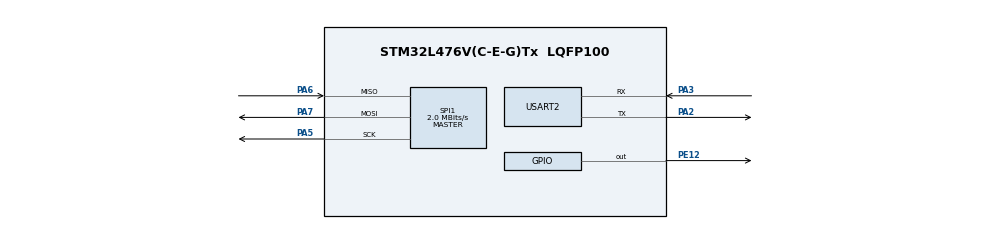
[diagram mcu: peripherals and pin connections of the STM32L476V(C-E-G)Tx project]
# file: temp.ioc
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Mcu.Family=STM32L4
Mcu.Name=STM32L476V(C-E-G)Tx
Mcu.Package=LQFP100
NVIC.PriorityGroup=NVIC_PRIORITYGROUP_4
NVIC.SPI1_IRQn=true\:0\:0\:false\:false\:true\:true\:true\:true
NVIC.USART2_IRQn=true\:0\:0\:false\:false\:true\:true\:true\:true
PA2.Mode=Asynchronous
PA2.Signal=USART2_TX
PA3.Mode=Asynchronous
PA3.Signal=USART2_RX
PA5.Mode=Full_Duplex_Master
PA5.Signal=SPI1_SCK
PA6.Mode=Full_Duplex_Master
PA6.Signal=SPI1_MISO
PA7.Mode=Full_Duplex_Master
PA7.Signal=SPI1_MOSI
PE12.Signal=GPIO_Output
ProjectManager.HeapSize=0x200
ProjectManager.StackSize=0x400
ProjectManager.TargetToolchain=EWARM V7
RCC.HSE_VALUE=8000000
RCC.HSI_VALUE=16000000
RCC.LSE_VALUE=32768
RCC.MSI_VALUE=4000000
RCC.VCOOutputFreq_Value=32000000
SPI1.CalculateBaudRate=2.0 MBits/s
SPI1.DataSize=SPI_DATASIZE_12BIT
SPI1.Direction=SPI_DIRECTION_2LINES
SPI1.Mode=SPI_MODE_MASTER
SPI1.VirtualType=VM_MASTER
USART2.VirtualMode-Asynchronous=VM_ASYNC
board=custom

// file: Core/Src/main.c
/* USER CODE BEGIN Header */
/**
  ******************************************************************************
  * @file           : main.c
  * @brief          : Main program body
  ******************************************************************************
  * @attention
  *
  * Copyright (c) 2025 STMicroelectronics.
  * All rights reserved.
  *
  * This software is licensed under terms that can be found in the LICENSE file
  * in the root directory of this software component.
  * If no LICENSE file comes with this software, it is provided AS-IS.
  *
  ******************************************************************************
  */
/* USER CODE END Header */
#include "main.h"

void SystemClock_Config(void);
static void MX_GPIO_Init(void);
static void MX_SPI1_Init(void);
static void MX_USART2_UART_Init(void);

/* USER CODE BEGIN 0 */

void SPI_TransmitReceive(SPI_TypeDef *SPIx, uint8_t *txData, uint8_t *rxData, uint16_t size) {
    for (uint16_t i = 0; i < size; i++) {
        // Отправляем данные
        LL_SPI_TransmitData8(SPI1, txData[i]);

        // Ждем, пока передача завершится
       // while (!LL_SPI_IsActiveFlag_TXE(SPIx)); // Ждем, пока регистр передачи не станет пустым
HAL_Delay(100);
        // Ждем, пока данные будут приняты
        //while (!LL_SPI_IsActiveFlag_RXNE(SPIx)); // Ждем, пока данные не будут готовы к чтению

        // Читаем принятые данные
        rxData[i] = LL_SPI_ReceiveData8(SPI1);
    }
}

void MAX31723_Init(void) {

 // HAL_GPIO_WritePin(GPIOE, GPIO_PIN_12, GPIO_PIN_RESET);
  //HAL_Delay(1);
  HAL_GPIO_WritePin(GPIOE, GPIO_PIN_12, GPIO_PIN_SET);
   HAL_Delay(100);
    LL_SPI_TransmitData8(SPI1, 0x80);
}
/* USER CODE END 0 */

int main(void)
{

  /* MCU Configuration--------------------------------------------------------*/

  /* Reset of all peripherals, Initializes the Flash interface and the Systick. */
  HAL_Init();

  /* Configure the system clock */
  SystemClock_Config();

  /* Initialize all configured peripherals */
  MX_GPIO_Init();
  MX_SPI1_Init();
  MX_USART2_UART_Init();
  /* USER CODE BEGIN 2 */
 MAX31723_Init();
  uint8_t txBuffer[2] = {0x01, 0x02};
  uint8_t rxBuffer[2];
  SPI_TransmitReceive(SPI1, txBuffer, rxBuffer, sizeof(txBuffer));
  HAL_Delay(100);
  HAL_GPIO_WritePin(GPIOE, GPIO_PIN_12, GPIO_PIN_RESET);
  /* USER CODE END 2 */

  /* Infinite loop */
  while (1)
  {

  }
}

void SystemClock_Config(void)
{
  RCC_OscInitTypeDef RCC_OscInitStruct = {0};
  RCC_ClkInitTypeDef RCC_ClkInitStruct = {0};

  /** Configure the main internal regulator output voltage
  */
  if (HAL_PWREx_ControlVoltageScaling(PWR_REGULATOR_VOLTAGE_SCALE1) != HAL_OK)
  {
    Error_Handler();
  }

  /** Initializes the RCC Oscillators according to the specified parameters
  * in the RCC_OscInitTypeDef structure.
  */
  RCC_OscInitStruct.OscillatorType = RCC_OSCILLATORTYPE_MSI;
  RCC_OscInitStruct.MSIState = RCC_MSI_ON;
  RCC_OscInitStruct.MSICalibrationValue = 0;
  RCC_OscInitStruct.MSIClockRange = RCC_MSIRANGE_6;
  RCC_OscInitStruct.PLL.PLLState = RCC_PLL_NONE;
  if (HAL_RCC_OscConfig(&RCC_OscInitStruct) != HAL_OK)
  {
    Error_Handler();
  }

  /** Initializes the CPU, AHB and APB buses clocks
  */
  RCC_ClkInitStruct.ClockType = RCC_CLOCKTYPE_HCLK|RCC_CLOCKTYPE_SYSCLK
                              |RCC_CLOCKTYPE_PCLK1|RCC_CLOCKTYPE_PCLK2;
  RCC_ClkInitStruct.SYSCLKSource = RCC_SYSCLKSOURCE_MSI;
  RCC_ClkInitStruct.AHBCLKDivider = RCC_SYSCLK_DIV1;
  RCC_ClkInitStruct.APB1CLKDivider = RCC_HCLK_DIV1;
  RCC_ClkInitStruct.APB2CLKDivider = RCC_HCLK_DIV1;

  if (HAL_RCC_ClockConfig(&RCC_ClkInitStruct, FLASH_LATENCY_0) != HAL_OK)
  {
    Error_Handler();
  }
}

static void MX_SPI1_Init(void)
{

  LL_SPI_InitTypeDef SPI_InitStruct = {0};

  LL_GPIO_InitTypeDef GPIO_InitStruct = {0};

  /* Peripheral clock enable */
  LL_APB2_GRP1_EnableClock(LL_APB2_GRP1_PERIPH_SPI1);

  LL_AHB2_GRP1_EnableClock(LL_AHB2_GRP1_PERIPH_GPIOA);
  /**SPI1 GPIO Configuration
  PA5   ------> SPI1_SCK
  PA6   ------> SPI1_MISO
  PA7   ------> SPI1_MOSI
  */
  GPIO_InitStruct.Pin = LL_GPIO_PIN_5|LL_GPIO_PIN_6|LL_GPIO_PIN_7;
  GPIO_InitStruct.Mode = LL_GPIO_MODE_ALTERNATE;
  GPIO_InitStruct.Speed = LL_GPIO_SPEED_FREQ_VERY_HIGH;
  GPIO_InitStruct.OutputType = LL_GPIO_OUTPUT_PUSHPULL;
  GPIO_InitStruct.Pull = LL_GPIO_PULL_NO;
  GPIO_InitStruct.Alternate = LL_GPIO_AF_5;
  LL_GPIO_Init(GPIOA, &GPIO_InitStruct);

  /* SPI1 interrupt Init */
  NVIC_SetPriority(SPI1_IRQn, NVIC_EncodePriority(NVIC_GetPriorityGrouping(),0, 0));
  NVIC_EnableIRQ(SPI1_IRQn);

  /* SPI1 parameter configuration*/
  SPI_InitStruct.TransferDirection = LL_SPI_FULL_DUPLEX;
  SPI_InitStruct.Mode = LL_SPI_MODE_MASTER;
  SPI_InitStruct.DataWidth = LL_SPI_DATAWIDTH_12BIT;
  SPI_InitStruct.ClockPolarity = LL_SPI_POLARITY_LOW;
  SPI_InitStruct.ClockPhase = LL_SPI_PHASE_1EDGE;
  SPI_InitStruct.NSS = LL_SPI_NSS_SOFT;
  SPI_InitStruct.BaudRate = LL_SPI_BAUDRATEPRESCALER_DIV2;
  SPI_InitStruct.BitOrder = LL_SPI_MSB_FIRST;
  SPI_InitStruct.CRCCalculation = LL_SPI_CRCCALCULATION_DISABLE;
  SPI_InitStruct.CRCPoly = 7;
  LL_SPI_Init(SPI1, &SPI_InitStruct);
  LL_SPI_SetStandard(SPI1, LL_SPI_PROTOCOL_MOTOROLA);
  LL_SPI_EnableNSSPulseMgt(SPI1);

}

static void MX_USART2_UART_Init(void)
{

  LL_USART_InitTypeDef USART_InitStruct = {0};

  LL_GPIO_InitTypeDef GPIO_InitStruct = {0};
  RCC_PeriphCLKInitTypeDef PeriphClkInit = {0};

  /** Initializes the peripherals clock
  */
  PeriphClkInit.PeriphClockSelection = RCC_PERIPHCLK_USART2;
  PeriphClkInit.Usart2ClockSelection = RCC_USART2CLKSOURCE_PCLK1;
  if (HAL_RCCEx_PeriphCLKConfig(&PeriphClkInit) != HAL_OK)
  {
    Error_Handler();
  }

  /* Peripheral clock enable */
  LL_APB1_GRP1_EnableClock(LL_APB1_GRP1_PERIPH_USART2);

  LL_AHB2_GRP1_EnableClock(LL_AHB2_GRP1_PERIPH_GPIOA);
  /**USART2 GPIO Configuration
  PA2   ------> USART2_TX
  PA3   ------> USART2_RX
  */
  GPIO_InitStruct.Pin = LL_GPIO_PIN_2|LL_GPIO_PIN_3;
  GPIO_InitStruct.Mode = LL_GPIO_MODE_ALTERNATE;
  GPIO_InitStruct.Speed = LL_GPIO_SPEED_FREQ_VERY_HIGH;
  GPIO_InitStruct.OutputType = LL_GPIO_OUTPUT_PUSHPULL;
  GPIO_InitStruct.Pull = LL_GPIO_PULL_NO;
  GPIO_InitStruct.Alternate = LL_GPIO_AF_7;
  LL_GPIO_Init(GPIOA, &GPIO_InitStruct);

  /* USART2 interrupt Init */
  NVIC_SetPriority(USART2_IRQn, NVIC_EncodePriority(NVIC_GetPriorityGrouping(),0, 0));
  NVIC_EnableIRQ(USART2_IRQn);

  USART_InitStruct.BaudRate = 115200;
  USART_InitStruct.DataWidth = LL_USART_DATAWIDTH_8B;
  USART_InitStruct.StopBits = LL_USART_STOPBITS_1;
  USART_InitStruct.Parity = LL_USART_PARITY_NONE;
  USART_InitStruct.TransferDirection = LL_USART_DIRECTION_TX_RX;
  USART_InitStruct.HardwareFlowControl = LL_USART_HWCONTROL_NONE;
  USART_InitStruct.OverSampling = LL_USART_OVERSAMPLING_16;
  LL_USART_Init(USART2, &USART_InitStruct);
  LL_USART_ConfigAsyncMode(USART2);
  LL_USART_Enable(USART2);

}

static void MX_GPIO_Init(void)
{
  GPIO_InitTypeDef GPIO_InitStruct = {0};

  /* GPIO Ports Clock Enable */
  __HAL_RCC_GPIOA_CLK_ENABLE();
  __HAL_RCC_GPIOE_CLK_ENABLE();

  /*Configure GPIO pin Output Level */
  HAL_GPIO_WritePin(GPIOE, GPIO_PIN_12, GPIO_PIN_RESET);

  /*Configure GPIO pin : PE12 */
  GPIO_InitStruct.Pin = GPIO_PIN_12;
  GPIO_InitStruct.Mode = GPIO_MODE_OUTPUT_PP;
  GPIO_InitStruct.Pull = GPIO_NOPULL;
  GPIO_InitStruct.Speed = GPIO_SPEED_FREQ_LOW;
  HAL_GPIO_Init(GPIOE, &GPIO_InitStruct);

}

void Error_Handler(void)
{
  __disable_irq();
  while (1)
  {
  }
}
